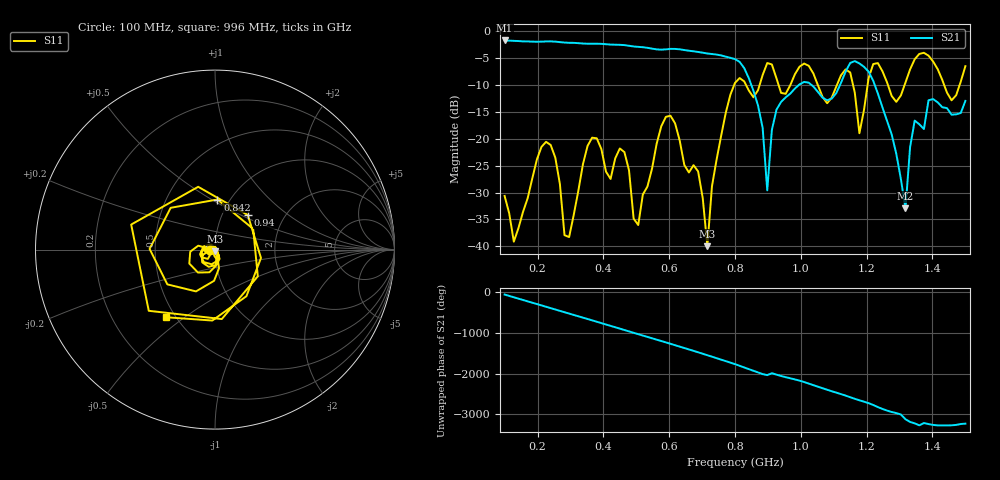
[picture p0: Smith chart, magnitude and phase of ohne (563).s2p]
! NanoVNA-App
! Date: 2025-09-25 14:25:11
! Start: 100MHz Stop: 1,5GHz Points: 101
! S-Parameter data: F S11 S21 S12 S22
# Hz S RI R 50
!  Frequency  S11_Real  S11_Imag  S21_Real  S21_Imag  S12_Real  S12_Imag  S22_Real  S22_Imag
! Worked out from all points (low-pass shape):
!   101 points, 100 MHz to 1.5 GHz, reference 50 ohm
!   highest |S21| = -1.79 dB at 100 MHz (marker M1); lowest = -32.9 dB at 1.318 GHz (marker M2)
!   |S21| within 3 dB of the highest: start of sweep to 771.6 MHz
!   lowest |S11| = -39.9 dB at 716 MHz (marker M3), VSWR 1.02, Z = 49.8 - j0.986 ohm
!   |S11| at or under -10 dB: start of sweep to 797.8 MHz; 833.1 MHz to 875.1 MHz (41.98 MHz wide, 4.92 % of centre); 1.051 GHz to 1.11 GHz (58.74 MHz wide, 5.44 % of centre) (the widest 3 of 7)
!   S12 and S22 are empty: the file has one direction only
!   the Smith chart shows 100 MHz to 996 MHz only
!   S11 on the Smith chart (normalised r, x): 100 MHz: 0.94, -0.01; 842 MHz: 0.88, +0.53; 940 MHz: 1.32, +0.55; 996 MHz: 0.45, -0.43
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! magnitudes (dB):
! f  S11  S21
! 100 MHz  -30.6  -1.8
! 128 MHz  -39.1  -1.9
! 226 MHz  -20.6  -2.0
! 296 MHz  -38.3  -2.2
! 338 MHz  -24.8  -2.4
! 464 MHz  -22.5  -2.7
! 506 MHz  -36.0  -3.0
! 576 MHz  -17.7  -3.5
! 688 MHz  -26.1  -3.9
! 716 MHz  -39.9  -4.2
! 800 MHz  -9.7  -5.3
! 842 MHz  -11.1  -8.8
! 898 MHz  -6.0  -29.6
! 940 MHz  -11.5  -13.2
! 996 MHz  -6.7  -9.9
! 1.038 GHz  -7.9  -10.3
! 1.178 GHz  -19.0  -6.1
! 1.22 GHz  -6.2  -9.3
! 1.276 GHz  -12.1  -19.2
! 1.318 GHz  -9.6  -32.9
! 1.346 GHz  -5.3  -16.7
! 1.5 GHz  -6.6  -13.0
